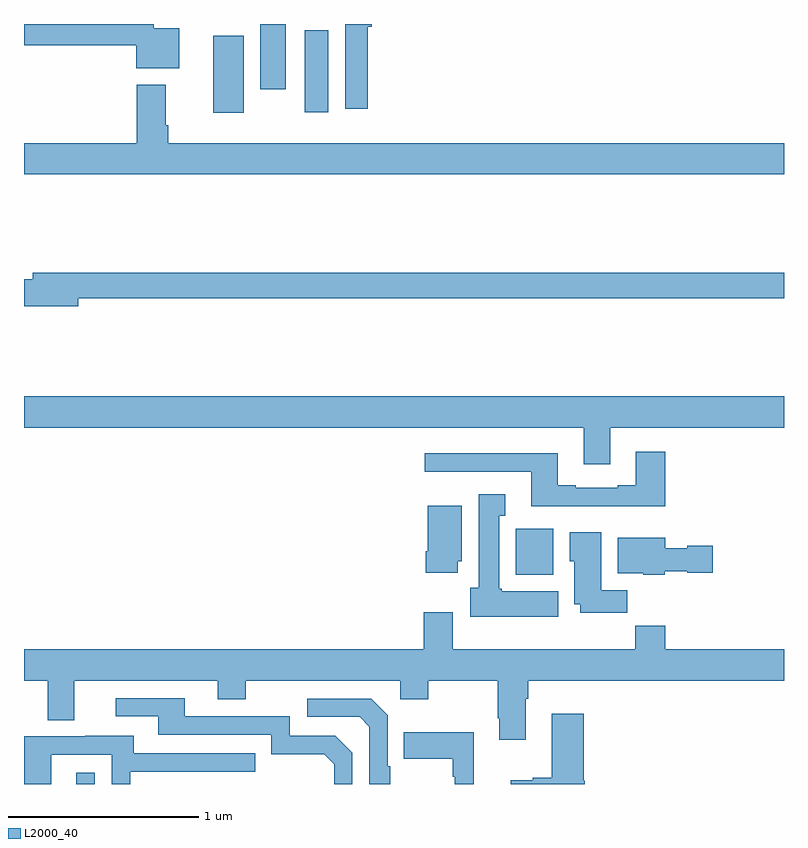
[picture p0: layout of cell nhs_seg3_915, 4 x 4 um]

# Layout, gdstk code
import gdstk
lib = gdstk.Library(unit=1e-6, precision=1e-09)
def R(c, l, rs):  # rectangles x0, y0, x1, y1
    for r in rs: c.add(gdstk.rectangle(r[:2], r[2:], *l))
def P(c, l, *ps):  # polygons
    for p in ps: c.add(gdstk.Polygon(p, *l))
L2000_40 = (2000, 40)

nhs_seg3_915 = lib.new_cell('nhs_seg3_915')
R(nhs_seg3_915, L2000_40, [(159.275,672.4,159.372,672.46), (161.588,673.502,161.785,673.744), (159.995,675.933,160.156,676.339), (160.478,675.936,160.6,676.366), (160.244,676.056,160.378,676.4)])
P(nhs_seg3_915, L2000_40, [(160.808,676.385),(160.83,676.385),(160.83,676.4),(160.692,676.4),(160.692,675.954),(160.808,675.954)],
  [(159.817,676.378),(159.684,676.378),(159.684,676.4),(159,676.4),(159,676.288),(159.59,676.288),(159.59,676.166),(159.817,676.166)],
  [(163,675.772),(159.758,675.772),(159.758,675.868),(159.745,675.868),(159.745,676.081),(159.593,676.081),(159.593,675.772),(159,675.772),(159,675.608),(163,675.608)],
  [(159.286,674.956),(163,674.956),(163,675.092),(159.047,675.092),(159.047,675.056),(159,675.056),(159,674.914),(159.286,674.914)],
  [(162.085,674.276),(163,674.276),(163,674.44),(159,674.44),(159,674.276),(161.945,674.276),(161.945,674.082),(162.085,674.082)],
  [(162.374,674.149),(162.221,674.149),(162.221,673.972),(162.125,673.972),(162.125,673.959),(161.905,673.959),(161.905,673.972),(161.809,673.972),(161.809,674.14),(161.109,674.14),(161.109,674.043),(161.669,674.043),(161.669,673.862),(162.374,673.862)],
  [(161.812,673.414),(161.514,673.414),(161.514,673.428),(161.5,673.428),(161.5,673.811),(161.533,673.811),(161.533,673.924),(161.393,673.924),(161.393,673.434),(161.348,673.434),(161.348,673.28),(161.812,673.28)],
  [(161.284,673.572),(161.305,673.572),(161.305,673.864),(161.126,673.864),(161.126,673.624),(161.114,673.624),(161.114,673.512),(161.284,673.512)],
  [(162.176,673.42),(162.037,673.42),(162.037,673.726),(161.873,673.726),(161.873,673.572),(161.897,673.572),(161.897,673.346),(161.927,673.346),(161.927,673.302),(162.176,673.302)],
  [(162.372,673.52),(162.492,673.52),(162.492,673.513),(162.625,673.513),(162.625,673.655),(162.492,673.655),(162.492,673.642),(162.376,673.642),(162.376,673.696),(162.125,673.696),(162.125,673.508),(162.258,673.508),(162.258,673.502),(162.372,673.502)],
  [(161.641,672.848),(161.654,672.848),(161.654,672.944),(163,672.944),(163,673.108),(162.374,673.108),(162.374,673.232),(162.217,673.232),(162.217,673.108),(161.257,673.108),(161.257,673.303),(161.105,673.303),(161.105,673.108),(159,673.108),(159,672.944),(159.125,672.944),(159.125,672.736),(159.265,672.736),(159.265,672.944),(160.019,672.944),(160.019,672.845),(160.167,672.845),(160.167,672.944),(160.98,672.944),(160.98,672.845),(161.127,672.845),(161.127,672.944),(161.494,672.944),(161.494,672.745),(161.501,672.745),(161.501,672.633),(161.641,672.633)],
  [(160.728,672.564),(160.638,672.654),(160.398,672.654),(160.398,672.756),(159.847,672.756),(159.847,672.852),(159.483,672.852),(159.483,672.756),(159.707,672.756),(159.707,672.66),(160.302,672.66),(160.302,672.557),(160.579,672.557),(160.632,672.504),(160.632,672.4),(160.728,672.4)],
  [(160.927,672.493),(160.914,672.493),(160.914,672.762),(160.827,672.849),(160.491,672.849),(160.491,672.753),(160.767,672.753),(160.818,672.702),(160.818,672.4),(160.927,672.4)],
  [(161.95,672.417),(161.945,672.417),(161.945,672.769),(161.777,672.769),(161.777,672.434),(161.678,672.434),(161.678,672.421),(161.562,672.421),(161.562,672.4),(161.95,672.4)],
  [(161.366,672.673),(160.999,672.673),(160.999,672.533),(161.256,672.533),(161.256,672.437),(161.268,672.437),(161.268,672.4),(161.366,672.4)],
  [(159.144,672.555),(159.462,672.555),(159.462,672.4),(159.558,672.4),(159.558,672.465),(160.217,672.465),(160.217,672.561),(159.577,672.561),(159.577,672.655),(159.323,672.655),(159.323,672.651),(159,672.651),(159,672.4),(159.144,672.4)])

lib.write_gds('nhs_seg3_915.gds')
